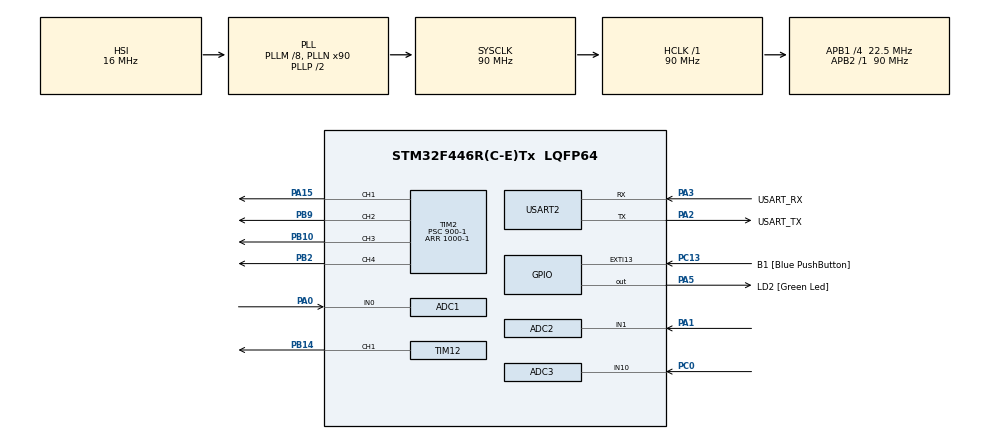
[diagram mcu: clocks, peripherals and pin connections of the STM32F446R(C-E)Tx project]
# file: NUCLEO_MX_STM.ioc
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ADC1.Channel-0\#ChannelRegularConversion=ADC_CHANNEL_0
ADC1.ClockPrescaler=ADC_CLOCK_SYNC_PCLK_DIV4
ADC1.NbrOfConversionFlag=1
ADC1.Rank-0\#ChannelRegularConversion=1
ADC1.SamplingTime-0\#ChannelRegularConversion=ADC_SAMPLETIME_3CYCLES
ADC1.master=1
ADC2.Channel-0\#ChannelRegularConversion=ADC_CHANNEL_1
ADC2.ClockPrescaler=ADC_CLOCK_SYNC_PCLK_DIV4
ADC2.NbrOfConversionFlag=1
ADC2.Rank-0\#ChannelRegularConversion=1
ADC2.SamplingTime-0\#ChannelRegularConversion=ADC_SAMPLETIME_3CYCLES
ADC3.Channel-0\#ChannelRegularConversion=ADC_CHANNEL_10
ADC3.ClockPrescaler=ADC_CLOCK_SYNC_PCLK_DIV4
ADC3.NbrOfConversionFlag=1
ADC3.Rank-0\#ChannelRegularConversion=1
ADC3.SamplingTime-0\#ChannelRegularConversion=ADC_SAMPLETIME_3CYCLES
Mcu.Family=STM32F4
Mcu.Name=STM32F446R(C-E)Tx
Mcu.Package=LQFP64
NVIC.ADC_IRQn=true\:0\:0\:false\:false\:true\:true\:true\:true
NVIC.PriorityGroup=NVIC_PRIORITYGROUP_0
NVIC.TIM1_TRG_COM_TIM11_IRQn=true\:0\:0\:false\:false\:true\:true\:true\:true
NVIC.TIM1_UP_TIM10_IRQn=true\:0\:0\:false\:false\:true\:true\:true\:true
NVIC.TIM2_IRQn=true\:0\:1\:false\:false\:true\:true\:true\:true
NVIC.TIM8_BRK_TIM12_IRQn=true\:0\:1\:false\:false\:true\:true\:true\:true
NVIC.TIM8_TRG_COM_TIM14_IRQn=true\:0\:0\:false\:false\:true\:true\:true\:true
NVIC.TIM8_UP_TIM13_IRQn=true\:0\:0\:false\:false\:true\:true\:true\:true
NVIC.USART2_IRQn=true\:0\:0\:false\:false\:true\:true\:true\:true
PA0-WKUP.Signal=ADCx_IN0
PA1.Signal=ADCx_IN1
PA13.GPIO_Label=TMS
PA13.Mode=Serial_Wire
PA13.Signal=SYS_JTMS-SWDIO
PA14.GPIO_Label=TCK
PA14.Mode=Serial_Wire
PA14.Signal=SYS_JTCK-SWCLK
PA15.Signal=S_TIM2_CH1_ETR
PA2.GPIO_Label=USART_TX
PA2.Mode=Asynchronous
PA2.Signal=USART2_TX
PA3.GPIO_Label=USART_RX
PA3.Mode=Asynchronous
PA3.Signal=USART2_RX
PA5.GPIO_Label=LD2 [Green Led]
PA5.Signal=GPIO_Output
PB10.Signal=S_TIM2_CH3
PB14.Signal=S_TIM12_CH1
PB2.Signal=S_TIM2_CH4
PB3.GPIO_Label=SWO
PB3.Signal=SYS_JTDO-SWO
PB9.Signal=S_TIM2_CH2
PC0.Signal=ADCx_IN10
PC13.GPIO_Label=B1 [Blue PushButton]
PC13.GPIO_ModeDefaultEXTI=GPIO_MODE_IT_FALLING
PC13.Signal=GPXTI13
PC14-OSC32_IN.Mode=LSE-External-Oscillator
PC14-OSC32_IN.Signal=RCC_OSC32_IN
PC15-OSC32_OUT.Mode=LSE-External-Oscillator
PC15-OSC32_OUT.Signal=RCC_OSC32_OUT
PH0-OSC_IN.Mode=HSE-External-Oscillator
PH0-OSC_IN.Signal=RCC_OSC_IN
PH1-OSC_OUT.Mode=HSE-External-Oscillator
PH1-OSC_OUT.Signal=RCC_OSC_OUT
ProjectManager.HeapSize=0x800
ProjectManager.StackSize=0x800
ProjectManager.TargetToolchain=STM32CubeIDE
RCC.AHBFreq_Value=90000000
RCC.APB1CLKDivider=RCC_HCLK_DIV4
RCC.APB1Freq_Value=22500000
RCC.APB1TimFreq_Value=45000000
RCC.APB2Freq_Value=90000000
RCC.APB2TimFreq_Value=90000000
RCC.CortexFreq_Value=90000000
RCC.FLatency-AdvancedSettings=FLASH_LATENCY_2
RCC.HCLKFreq_Value=90000000
RCC.HSE_VALUE=8000000
RCC.HSI_VALUE=16000000
RCC.PLLM=8
RCC.PLLN=90
RCC.SYSCLKFreq_VALUE=90000000
RCC.SYSCLKSource=RCC_SYSCLKSOURCE_PLLCLK
RCC.USBFreq_Value=90000000
RCC.VCOOutputFreq_Value=180000000
SH.ADCx_IN0.0=ADC1_IN0,IN0
SH.ADCx_IN1.0=ADC2_IN1,IN1
SH.ADCx_IN10.0=ADC3_IN10,IN10
SH.S_TIM12_CH1.0=TIM12_CH1,PWM Generation1 CH1
SH.S_TIM2_CH1_ETR.0=TIM2_CH1,PWM Generation1 CH1
SH.S_TIM2_CH2.0=TIM2_CH2,PWM Generation2 CH2
SH.S_TIM2_CH3.0=TIM2_CH3,PWM Generation3 CH3
SH.S_TIM2_CH4.0=TIM2_CH4,PWM Generation4 CH4
STMicroelectronics.X-CUBE-AI.8.0.1.ActivationBufferSizeList=1624
STMicroelectronics.X-CUBE-AI.8.0.1.ActivationBuffers=pool0
STMicroelectronics.X-CUBE-AI.8.0.1.ActivationNames=pool0
STMicroelectronics.X-CUBE-AI.8.0.1.ActivationSizes=AI_NETWORK_DATA_ACTIVATION_1_SIZE
STMicroelectronics.X-CUBE-AI.8.0.1.HeapSize=0x800
STMicroelectronics.X-CUBE-AI.8.0.1.InternalRamActivationBufferMaxSize=AI_NETWORK_DATA_ACTIVATIONS_SIZE
STMicroelectronics.X-CUBE-AI.8.0.1.LatestDirectoryUsed-1d784fe00bc8c9b778a078fc7641ee5ba486a1559fe29472954857f1d0981ca2=F\:\\Graduation Project\\Model
STMicroelectronics.X-CUBE-AI.8.0.1.MaximumNumberOfInputLayer=1
STMicroelectronics.X-CUBE-AI.8.0.1.MaximumNumberOfOutputLayer=1
STMicroelectronics.X-CUBE-AI.8.0.1.MaximumSizeOfInputLayer=1
STMicroelectronics.X-CUBE-AI.8.0.1.MaximumSizeOfOutputLayer=1
STMicroelectronics.X-CUBE-AI.8.0.1.ModelActualCompression-1d784fe00bc8c9b778a078fc7641ee5ba486a1559fe29472954857f1d0981ca2=2.2847965
STMicroelectronics.X-CUBE-AI.8.0.1.ModelCompression-1d784fe00bc8c9b778a078fc7641ee5ba486a1559fe29472954857f1d0981ca2=Low
STMicroelectronics.X-CUBE-AI.8.0.1.ModelFlashOccupation-1d784fe00bc8c9b778a078fc7641ee5ba486a1559fe29472954857f1d0981ca2=37348
STMicroelectronics.X-CUBE-AI.8.0.1.ModelHashList=1d784fe00bc8c9b778a078fc7641ee5ba486a1559fe29472954857f1d0981ca2
STMicroelectronics.X-CUBE-AI.8.0.1.ModelKind-1d784fe00bc8c9b778a078fc7641ee5ba486a1559fe29472954857f1d0981ca2=KERAS
STMicroelectronics.X-CUBE-AI.8.0.1.ModelMacc-1d784fe00bc8c9b778a078fc7641ee5ba486a1559fe29472954857f1d0981ca2=3611
STMicroelectronics.X-CUBE-AI.8.0.1.ModelName-1d784fe00bc8c9b778a078fc7641ee5ba486a1559fe29472954857f1d0981ca2=network
STMicroelectronics.X-CUBE-AI.8.0.1.ModelNameList=network
STMicroelectronics.X-CUBE-AI.8.0.1.ModelRamOccupation-1d784fe00bc8c9b778a078fc7641ee5ba486a1559fe29472954857f1d0981ca2=1624
STMicroelectronics.X-CUBE-AI.8.0.1.ModelStructureFile-1d784fe00bc8c9b778a078fc7641ee5ba486a1559fe29472954857f1d0981ca2=F\:\\Graduation Project\\Model\\model_5.h5
STMicroelectronics.X-CUBE-AI.8.0.1.ModelType-1d784fe00bc8c9b778a078fc7641ee5ba486a1559fe29472954857f1d0981ca2=Saved model
STMicroelectronics.X-CUBE-AI.8.0.1.ReadyForCodeGeneration=true
STMicroelectronics.X-CUBE-AI.8.0.1.StackSize=0x800
STMicroelectronics.X-CUBE-AI.8.0.1.WorkingBufferStartAddrList=0xFFFFFFFF
STMicroelectronics.X-CUBE-AI.8.0.1.XAaCUBEAaAICcArtificialOoIntelligenceJjCore=true
STMicroelectronics.X-CUBE-AI.8.0.1.copyWeightToRam-1d784fe00bc8c9b778a078fc7641ee5ba486a1559fe29472954857f1d0981ca2=false
STMicroelectronics.X-CUBE-AI.8.0.1.customLayerConfigEnabled-1d784fe00bc8c9b778a078fc7641ee5ba486a1559fe29472954857f1d0981ca2=false
STMicroelectronics.X-CUBE-AI.8.0.1.useInputAllocation-1d784fe00bc8c9b778a078fc7641ee5ba486a1559fe29472954857f1d0981ca2=true
STMicroelectronics.X-CUBE-AI.8.0.1.useOutputAllocation-1d784fe00bc8c9b778a078fc7641ee5ba486a1559fe29472954857f1d0981ca2=true
TIM12.Channel-PWM\ Generation1\ CH1=TIM_CHANNEL_1
TIM2.AutoReloadPreload=TIM_AUTORELOAD_PRELOAD_ENABLE
TIM2.Channel-PWM\ Generation1\ CH1=TIM_CHANNEL_1
TIM2.Channel-PWM\ Generation2\ CH2=TIM_CHANNEL_2
TIM2.Channel-PWM\ Generation3\ CH3=TIM_CHANNEL_3
TIM2.Channel-PWM\ Generation4\ CH4=TIM_CHANNEL_4
TIM2.Period=1000-1
TIM2.Prescaler=900-1
USART2.VirtualMode=VM_ASYNC
VP_CRC_VS_CRC.Mode=CRC_Activate
VP_STMicroelectronics.X-CUBE-AI_VS_ArtificialOoIntelligenceJjXAaCUBEAaAI_8.0.1.Mode=ArtificialOoIntelligenceJjXAaCUBEAaAI
VP_TIM10_VS_ClockSourceINT.Mode=Enable_Timer
VP_TIM11_VS_ClockSourceINT.Mode=Enable_Timer
VP_TIM12_VS_ClockSourceINT.Mode=Internal
VP_TIM13_VS_ClockSourceINT.Mode=Enable_Timer
VP_TIM14_VS_ClockSourceINT.Mode=Enable_Timer
VP_TIM2_VS_ClockSourceINT.Mode=Internal
board=NUCLEO-F446RE

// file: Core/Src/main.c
/* USER CODE BEGIN Header */
/**
 ******************************************************************************
 * @file           : main.c
 * @brief          : Main program body
 ******************************************************************************
 * @attention
 *
 * Copyright (c) 2023 STMicroelectronics.
 * All rights reserved.
 *
 * This software is licensed under terms that can be found in the LICENSE file
 * in the root directory of this software component.
 * If no LICENSE file comes with this software, it is provided AS-IS.
 *
 ******************************************************************************
 */
/* USER CODE END Header */
#include "main.h"
#include "adc.h"
#include "crc.h"
#include "tim.h"
#include "usart.h"
#include "gpio.h"

/* USER CODE BEGIN Includes */
#include "PWM.h"
#include "MAPPING.h"
#include "servo.h"
#include "FEAT_EXT.h"
#include "NORM_interface.h"

#include "sensor_readings.h"
#include "app_x-cube-ai.h"

#include <stdio.h>
#include <math.h>

#include "network.h"
#include "network_data.h"

/* USER CODE END Includes */

/* USER CODE BEGIN PTD */
typedef enum
{
	RMS_IDX,
	VAR_IDX,
	MEAN_IDX,
	SSC_INDX,
	ZC_IDX,
	WVL_IDX
}Model_Idx;

/* USER CODE END PTD */

/* USER CODE BEGIN PD */
#define Vth 				40

#define MODEL_THRESHOLD		0.5
/* USER CODE END PD */

/* USER CODE BEGIN PV */
uint32_t sensor1;
uint32_t sensor2;
uint32_t sensor3;
/* USER CODE END PV */

void SystemClock_Config(void);

/* USER CODE BEGIN 0 */
void HAL_TIM_PeriodElapsedCallback(TIM_HandleTypeDef *htim)
{
	if (htim->Instance == TIM10)
	{
		HAL_GPIO_TogglePin(GPIOA, GPIO_PIN_5);
	}
	else if (htim->Instance == TIM11)
	{
		HAL_GPIO_TogglePin(GPIOA, GPIO_PIN_5);
	}

	else if (htim->Instance == TIM13)
	{
		HAL_GPIO_TogglePin(GPIOA, GPIO_PIN_5);
	}
	else if (htim->Instance == TIM14)
	{
		HAL_GPIO_TogglePin(GPIOA, GPIO_PIN_5);
	}
}

/************************	Global Variables	************************/
static ai_handle network = AI_HANDLE_NULL;

AI_ALIGNED(32)
static ai_u8 activations[AI_NETWORK_DATA_ACTIVATIONS_SIZE];

AI_ALIGNED(32)
static ai_float in_data[AI_NETWORK_IN_1_SIZE];

AI_ALIGNED(32)
static ai_float out_data[AI_NETWORK_OUT_1_SIZE];

static ai_buffer *ai_input;
static ai_buffer *ai_output;

int Model_Init(void)
{
	ai_error err;
	const ai_handle acts[] = { activations };
	err = ai_network_create_and_init(&network, acts, NULL);

	ai_input = ai_network_inputs_get(network, NULL);
	ai_output = ai_network_outputs_get(network, NULL);

	return 0;
}

int Model_Run(const void *in_data, void *out_data)
{
	ai_i32 n_batch;
	ai_error err;

	/* 1 - Update IO handlers with the data payload */
	ai_input[0].data = AI_HANDLE_PTR(in_data);
	ai_output[0].data = AI_HANDLE_PTR(out_data);

	/* 2 - Perform the inference */
	n_batch = ai_network_run(network, &ai_input[0], &ai_output[0]);
	if (n_batch != 1) {
		err = ai_network_get_error(network);
	};

	return 0;
}
/* USER CODE END 0 */

int main(void)
{
	/* USER CODE BEGIN 1 */
	uint32_t Local_u32Counter,Local_u32_RealData[250];
	/* USER CODE END 1 */

	/* MCU Configuration--------------------------------------------------------*/

	/* Reset of all peripherals, Initializes the Flash interface and the Systick. */
	HAL_Init();

	/* Configure the system clock */
	SystemClock_Config();

	/* Initialize all configured peripherals */

	/* Initialize GPIO */
	MX_GPIO_Init();

	/* Initialize ADC */
	MX_ADC1_Init();
	MX_ADC2_Init();
	MX_ADC3_Init();

	MX_TIM2_Init();
	MX_TIM10_Init();
	MX_TIM11_Init();
	MX_TIM12_Init();
	MX_TIM13_Init();
	MX_TIM14_Init();
	MX_USART2_UART_Init();
	MX_CRC_Init();
	/* USER CODE BEGIN 2 */

	Model_Init();

	/* Start GPs Timers */
	HAL_TIM_Base_Start_IT(&htim10);
	HAL_TIM_Base_Start_IT(&htim11);
	HAL_TIM_Base_Start_IT(&htim13);
	HAL_TIM_Base_Start_IT(&htim14);

	/* Initialize PWM Timers*/
	HAL_TIM_PWM_Start(&htim2, TIM_CHANNEL_1);
	HAL_TIM_PWM_Start(&htim2, TIM_CHANNEL_2);
	HAL_TIM_PWM_Start(&htim2, TIM_CHANNEL_3);
	HAL_TIM_PWM_Start(&htim2, TIM_CHANNEL_4);
	HAL_TIM_PWM_Start(&htim12, TIM_CHANNEL_1);

	SERVO_t Servo1;
	Servo1.Pin = Servo_PB9;

	/*************************	Testing	*************************/
	uint32_t Data0[250] = {
			0   , 0  , 0  , 0  , 96 , 94 , 0  , 3  , 5   , 20  ,
			0   , 0  , 5  , 0  , 0  , 8  , 0  , 0  , 0   , 0   ,
			0   , 0  , 28 , 0  , 0  , 0  , 13 , 0  , 43  , 1023,
			0   , 0  , 0  , 0  , 0  , 0  , 224, 11 , 0   , 0   ,
			0   , 0  , 232, 411, 0  , 0  , 0  , 0  , 0   , 3   ,
			0   , 0  , 9  , 0  , 0  , 0  , 0  , 0  , 0   , 0   ,
			0   , 0  , 0  , 0  , 0  , 0  , 0  , 0  , 1   , 0   ,
			447 , 343, 0  , 0  , 0  , 182, 27 , 24 , 577 , 0   ,
			0   , 8  , 488, 8  , 0  , 10 , 0  , 0  , 0   , 64  ,
			0   , 0  , 0  , 0  , 0  , 0  , 0  , 0  , 0   , 0   ,
			0   , 0  , 88 , 0  , 0  , 0  , 34 , 0  , 0   , 0   ,
			0   , 452, 0  , 769, 0  , 0  , 0  , 0  , 11  , 0   ,
			1023, 0  , 0  , 13 , 19 , 0  , 36 , 172, 0   , 1023,
			0   , 0  , 0  , 0  , 437, 0  , 0  , 0  , 0   , 0   ,
			99  , 183, 0  , 0  , 0  , 0  , 300, 0  , 0   , 0   ,
			0   , 0  , 0  , 0  ,32  , 0  , 0  , 0  , 0   , 156 ,
			139 , 0  , 0  , 0  , 0  , 0  , 0  , 0  , 1023, 11  ,
			0   , 0  , 9  , 0  , 0  , 0  , 0  , 0  , 30  , 188 ,
			33  , 75 , 0  , 13 , 0  , 0  , 0  , 0  , 0   , 35  ,
			233 , 0  , 0  , 0  , 0  , 0  , 0  , 0  , 0   , 1   ,
			0   , 138, 0  , 0  , 0  , 0  , 0  , 0  , 0   , 0   ,
			0   , 606, 197, 76 , 0  , 104, 0  , 232, 24  , 0   ,
			1023, 132, 0  , 0  , 0  , 0  , 0  , 0  , 0   , 14  ,
			0   , 0  , 0  , 0  , 89 , 7  , 0  , 32 , 0   , 72  ,
			227 , 12 , 0  , 0  , 0  , 9  , 640, 58 , 0   , 0   };

	uint32_t Data1[250] = {
			0	,0	,0	,0	,0	,0	,1	,0	,0	,0	,0	,0	,0
			,0	,0	,0	,0	,0	,0	,0	,0	,0	,0	,0	,0	,0
			,0	,0	,0	,0	,0	,0	,52	,148,75	,0	,163,17	,70
			,156,37	,0	,59	,184,50	,227,0	,0	,17	,114,0  ,0
			,128,96	,0	,31 ,5	,104,20	,8	,0	,0	,63	,62	,0
			,23	,16	,129,118,13	,162,216,18	,0	,163,81	,246,0
			,52	,5	,82	,0	,44	,60	,180,169,77	,0	,147,149,0
			,22	,192,88 ,16	,0	,49	,0	,73	,45	,122,0	,113,103
			,106,0  ,0  ,19	,0  ,0	,0	,0	,39	,0	,0	,0	,0
			,0	,0	,22 ,0	,0	,30	,64	,0	,0	,74	,0	,0	,0
			,3	,0	,0	,0	,20	,13	,0  ,0	,0	,0	,0	,0	,5
			,0	,0	,0	,0	,0	,0	,0	,0	,0	,0	,0	,0	,0
			,0	,0	,0	,0	,0	,0	,0	,0	,0	,0	,0	,0	,0
			,0  ,0	,0	,0	,0	,0	,0	,0	,0	,0	,0	,0	,0
			,0	,0	,0	,19	,0	,0	,0	,11	,0	,0	,0  ,0	,0
			,0	,0	,0	,0	,0	,0	,0	,0	,0	,0  ,0	,0	,0
			,0	,0	,0	,0	,0	,0	,0	,0	,7	,0	,27	,17	,0
			,0	,51	,0	,90	,95	,0	,98	,0	,5	,0	,79	,0	,55
			,47	,86	,41	,0  ,0	,67	,137,74	,31	,117,0	,33	,0
			,176,2,134
	};

	float Feat_Arr[6],Norm_Arr[6];

	/*Feature Extraction*/
	Feat_Arr[VAR_IDX]	= FEAT_EXT_f32_Variance(Data0,250);
	Feat_Arr[RMS_IDX]   = FEAT_EXT_f32_RMS(Feat_Arr[1]);
	Feat_Arr[MEAN_IDX]  = FEAT_EXT_f32_MeanAbsolute(Data0,250);
	Feat_Arr[SSC_INDX]  = FEAT_EXT_u32_SlopeSignChange(Data0,250);
	Feat_Arr[ZC_IDX]    = FEAT_EXT_u32_ZeroCrossing(Data0,250);
	Feat_Arr[WVL_IDX]   = FEAT_EXT_u32_WaveformLength(Data0,250);

	/*Normalization*/
	Norm_Arr[VAR_IDX]  = NORM_f32_Variance(SNS1, Feat_Arr[VAR_IDX]);
	Norm_Arr[RMS_IDX]  = NORM_f32_RMS(SNS1, Feat_Arr[RMS_IDX]);
	Norm_Arr[MEAN_IDX] = NORM_f32_Mean(SNS1, Feat_Arr[MEAN_IDX]);
	Norm_Arr[SSC_INDX] = NORM_f32_SlopeSignChange(SNS1,Feat_Arr[SSC_INDX]);
	Norm_Arr[ZC_IDX]   = NORM_f32_ZeroCrossing(SNS1,Feat_Arr[ZC_IDX]);
	Norm_Arr[WVL_IDX]  = NORM_f32_WaveformLength(SNS1, Feat_Arr[WVL_IDX]);

	/*Model Running*/

	/*Movement 1 Data*/
	in_data[RMS_IDX]  = Norm_Arr[RMS_IDX];
	in_data[VAR_IDX]  = Norm_Arr[VAR_IDX];
	in_data[MEAN_IDX] = Norm_Arr[MEAN_IDX];
	in_data[SSC_INDX] = Norm_Arr[SSC_INDX];
	in_data[ZC_IDX]   = Norm_Arr[ZC_IDX];
	in_data[WVL_IDX]  = Norm_Arr[WVL_IDX];

	Model_Run(in_data, out_data);

	if(*out_data > MODEL_THRESHOLD)
	{
		Servo_void_SetAngle(Servo1,180);
	}
	else
	{
		Servo_void_SetAngle(Servo1,90);
	}
	/* USER CODE END 2 */

	/* Infinite loop */
	while (1)
	{

		/* USER CODE BEGIN 3 */
		for(Local_u32Counter = 0 ;Local_u32Counter < 250; Local_u32Counter++)
		{
			Local_u32_RealData[Local_u32Counter] = analogRead(&hadc1);
		}
		/*Feature Extraction*/
		Feat_Arr[VAR_IDX]	= FEAT_EXT_f32_Variance(Local_u32_RealData,250);
		Feat_Arr[RMS_IDX]   = FEAT_EXT_f32_RMS(Feat_Arr[1]);
		Feat_Arr[MEAN_IDX]  = FEAT_EXT_f32_MeanAbsolute(Local_u32_RealData,250);
		Feat_Arr[SSC_INDX]  = FEAT_EXT_u32_SlopeSignChange(Local_u32_RealData,250);
		Feat_Arr[ZC_IDX]    = FEAT_EXT_u32_ZeroCrossing(Local_u32_RealData,250);
		Feat_Arr[WVL_IDX]   = FEAT_EXT_u32_WaveformLength(Local_u32_RealData,250);

		/*Normalization*/
		Norm_Arr[VAR_IDX]  = NORM_f32_Variance(SNS1, Feat_Arr[VAR_IDX]);
		Norm_Arr[RMS_IDX]  = NORM_f32_RMS(SNS1, Feat_Arr[RMS_IDX]);
		Norm_Arr[MEAN_IDX] = NORM_f32_Mean(SNS1, Feat_Arr[MEAN_IDX]);
		Norm_Arr[SSC_INDX] = NORM_f32_SlopeSignChange(SNS1,Feat_Arr[SSC_INDX]);
		Norm_Arr[ZC_IDX]   = NORM_f32_ZeroCrossing(SNS1,Feat_Arr[ZC_IDX]);
		Norm_Arr[WVL_IDX]  = NORM_f32_WaveformLength(SNS1, Feat_Arr[WVL_IDX]);

		/*Model Running*/

		/*Movement 1 Data*/
		in_data[RMS_IDX]  = Norm_Arr[RMS_IDX];
		in_data[VAR_IDX]  = Norm_Arr[VAR_IDX];
		in_data[MEAN_IDX] = Norm_Arr[MEAN_IDX];
		in_data[SSC_INDX] = Norm_Arr[SSC_INDX];
		in_data[ZC_IDX]   = Norm_Arr[ZC_IDX];
		in_data[WVL_IDX]  = Norm_Arr[WVL_IDX];

		Model_Run(in_data, out_data);

		if(*out_data > MODEL_THRESHOLD)
		{
			Servo_void_SetAngle(Servo1,180);
		}
		else
		{
			Servo_void_SetAngle(Servo1,90);
		}
		//		sensor1 = analogRead(&hadc1);
		//		sensor2 = analogRead(&hadc1);
		//		sensor3 = analogRead(&hadc1);
		//		serial_print(sensor1);
		//		serial_print_str(",");
		//		serial_print(sensor2);
		//		serial_print_str(",");
		//		serial_println(sensor3);
		//		HAL_Delay(1);

	}
	/* USER CODE END 3 */
}

void SystemClock_Config(void)
{
	RCC_OscInitTypeDef RCC_OscInitStruct = {0};
	RCC_ClkInitTypeDef RCC_ClkInitStruct = {0};

	/** Configure the main internal regulator output voltage
	 */
	__HAL_RCC_PWR_CLK_ENABLE();
	__HAL_PWR_VOLTAGESCALING_CONFIG(PWR_REGULATOR_VOLTAGE_SCALE3);

	/** Initializes the RCC Oscillators according to the specified parameters
	 * in the RCC_OscInitTypeDef structure.
	 */
	RCC_OscInitStruct.OscillatorType = RCC_OSCILLATORTYPE_HSI;
	RCC_OscInitStruct.HSIState = RCC_HSI_ON;
	RCC_OscInitStruct.HSICalibrationValue = RCC_HSICALIBRATION_DEFAULT;
	RCC_OscInitStruct.PLL.PLLState = RCC_PLL_ON;
	RCC_OscInitStruct.PLL.PLLSource = RCC_PLLSOURCE_HSI;
	RCC_OscInitStruct.PLL.PLLM = 8;
	RCC_OscInitStruct.PLL.PLLN = 90;
	RCC_OscInitStruct.PLL.PLLP = RCC_PLLP_DIV2;
	RCC_OscInitStruct.PLL.PLLQ = 2;
	RCC_OscInitStruct.PLL.PLLR = 2;
	if (HAL_RCC_OscConfig(&RCC_OscInitStruct) != HAL_OK)
	{
		Error_Handler();
	}

	/** Initializes the CPU, AHB and APB buses clocks
	 */
	RCC_ClkInitStruct.ClockType = RCC_CLOCKTYPE_HCLK|RCC_CLOCKTYPE_SYSCLK
			|RCC_CLOCKTYPE_PCLK1|RCC_CLOCKTYPE_PCLK2;
	RCC_ClkInitStruct.SYSCLKSource = RCC_SYSCLKSOURCE_PLLCLK;
	RCC_ClkInitStruct.AHBCLKDivider = RCC_SYSCLK_DIV1;
	RCC_ClkInitStruct.APB1CLKDivider = RCC_HCLK_DIV4;
	RCC_ClkInitStruct.APB2CLKDivider = RCC_HCLK_DIV1;

	if (HAL_RCC_ClockConfig(&RCC_ClkInitStruct, FLASH_LATENCY_2) != HAL_OK)
	{
		Error_Handler();
	}
}

void Error_Handler(void)
{
	__disable_irq();
	while (1)
	{
	}
}
